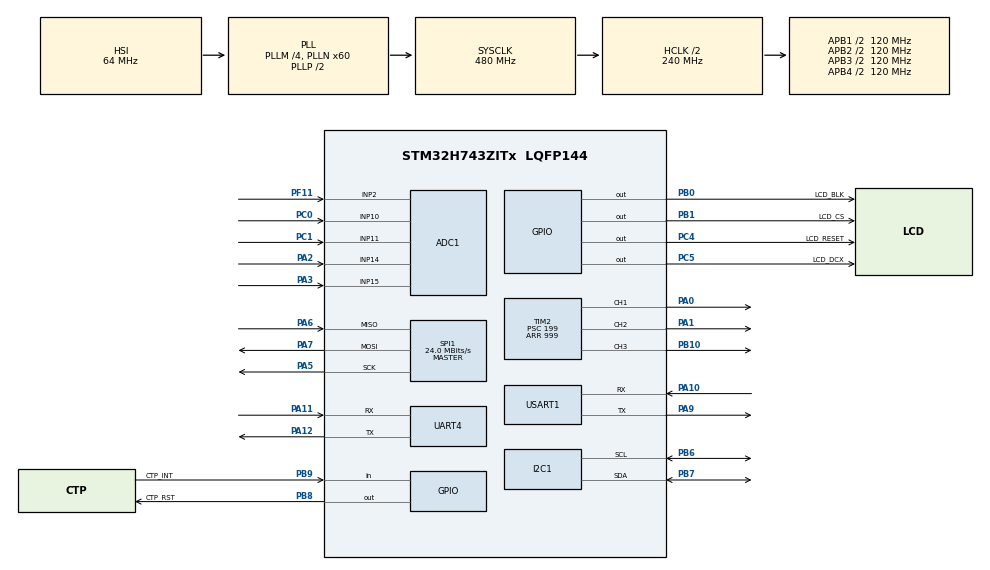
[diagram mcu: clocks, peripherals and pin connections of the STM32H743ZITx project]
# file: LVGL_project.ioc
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ADC1.Channel-0\#ChannelRegularConversion=ADC_CHANNEL_2
ADC1.ContinuousConvMode=DISABLE
ADC1.NbrOfConversion=1
ADC1.NbrOfConversionFlag=1
ADC1.OffsetNumber-0\#ChannelRegularConversion=ADC_OFFSET_NONE
ADC1.OffsetSignedSaturation-0\#ChannelRegularConversion=DISABLE
ADC1.OversamplingMode=ENABLE
ADC1.Rank-0\#ChannelRegularConversion=1
ADC1.SamplingTime-0\#ChannelRegularConversion=ADC_SAMPLETIME_1CYCLE_5
ADC1.master=1
CORTEX_M7.default_mode_Activation=1
Dma.Request0=SPI1_TX
Dma.Request1=SPI1_RX
Dma.Request2=USART1_RX
Dma.Request3=USART1_TX
Dma.SPI1_RX.1.Direction=DMA_PERIPH_TO_MEMORY
Dma.SPI1_RX.1.EventEnable=DISABLE
Dma.SPI1_RX.1.FIFOMode=DMA_FIFOMODE_DISABLE
Dma.SPI1_RX.1.Instance=DMA1_Stream1
Dma.SPI1_RX.1.MemDataAlignment=DMA_MDATAALIGN_BYTE
Dma.SPI1_RX.1.MemInc=DMA_MINC_ENABLE
Dma.SPI1_RX.1.Mode=DMA_NORMAL
Dma.SPI1_RX.1.PeriphDataAlignment=DMA_PDATAALIGN_BYTE
Dma.SPI1_RX.1.PeriphInc=DMA_PINC_DISABLE
Dma.SPI1_RX.1.Polarity=HAL_DMAMUX_REQ_GEN_RISING
Dma.SPI1_RX.1.Priority=DMA_PRIORITY_LOW
Dma.SPI1_RX.1.RequestNumber=1
Dma.SPI1_RX.1.SignalID=NONE
Dma.SPI1_RX.1.SyncEnable=DISABLE
Dma.SPI1_RX.1.SyncPolarity=HAL_DMAMUX_SYNC_NO_EVENT
Dma.SPI1_RX.1.SyncRequestNumber=1
Dma.SPI1_RX.1.SyncSignalID=NONE
Dma.SPI1_TX.0.Direction=DMA_MEMORY_TO_PERIPH
Dma.SPI1_TX.0.EventEnable=DISABLE
Dma.SPI1_TX.0.FIFOMode=DMA_FIFOMODE_DISABLE
Dma.SPI1_TX.0.Instance=DMA1_Stream0
Dma.SPI1_TX.0.MemDataAlignment=DMA_MDATAALIGN_HALFWORD
Dma.SPI1_TX.0.MemInc=DMA_MINC_ENABLE
Dma.SPI1_TX.0.Mode=DMA_NORMAL
Dma.SPI1_TX.0.PeriphDataAlignment=DMA_PDATAALIGN_HALFWORD
Dma.SPI1_TX.0.PeriphInc=DMA_PINC_DISABLE
Dma.SPI1_TX.0.Polarity=HAL_DMAMUX_REQ_GEN_RISING
Dma.SPI1_TX.0.Priority=DMA_PRIORITY_LOW
Dma.SPI1_TX.0.RequestNumber=1
Dma.SPI1_TX.0.SignalID=NONE
Dma.SPI1_TX.0.SyncEnable=DISABLE
Dma.SPI1_TX.0.SyncPolarity=HAL_DMAMUX_SYNC_NO_EVENT
Dma.SPI1_TX.0.SyncRequestNumber=1
Dma.SPI1_TX.0.SyncSignalID=NONE
Dma.USART1_RX.2.Direction=DMA_PERIPH_TO_MEMORY
Dma.USART1_RX.2.EventEnable=DISABLE
Dma.USART1_RX.2.FIFOMode=DMA_FIFOMODE_DISABLE
Dma.USART1_RX.2.Instance=DMA1_Stream2
Dma.USART1_RX.2.MemDataAlignment=DMA_MDATAALIGN_BYTE
Dma.USART1_RX.2.MemInc=DMA_MINC_ENABLE
Dma.USART1_RX.2.Mode=DMA_NORMAL
Dma.USART1_RX.2.PeriphDataAlignment=DMA_PDATAALIGN_BYTE
Dma.USART1_RX.2.PeriphInc=DMA_PINC_DISABLE
Dma.USART1_RX.2.Polarity=HAL_DMAMUX_REQ_GEN_RISING
Dma.USART1_RX.2.Priority=DMA_PRIORITY_LOW
Dma.USART1_RX.2.RequestNumber=1
Dma.USART1_RX.2.SignalID=NONE
Dma.USART1_RX.2.SyncEnable=DISABLE
Dma.USART1_RX.2.SyncPolarity=HAL_DMAMUX_SYNC_NO_EVENT
Dma.USART1_RX.2.SyncRequestNumber=1
Dma.USART1_RX.2.SyncSignalID=NONE
Dma.USART1_TX.3.Direction=DMA_MEMORY_TO_PERIPH
Dma.USART1_TX.3.EventEnable=DISABLE
Dma.USART1_TX.3.FIFOMode=DMA_FIFOMODE_DISABLE
Dma.USART1_TX.3.Instance=DMA1_Stream3
Dma.USART1_TX.3.MemDataAlignment=DMA_MDATAALIGN_BYTE
Dma.USART1_TX.3.MemInc=DMA_MINC_ENABLE
Dma.USART1_TX.3.Mode=DMA_NORMAL
Dma.USART1_TX.3.PeriphDataAlignment=DMA_PDATAALIGN_BYTE
Dma.USART1_TX.3.PeriphInc=DMA_PINC_DISABLE
Dma.USART1_TX.3.Polarity=HAL_DMAMUX_REQ_GEN_RISING
Dma.USART1_TX.3.Priority=DMA_PRIORITY_LOW
Dma.USART1_TX.3.RequestNumber=1
Dma.USART1_TX.3.SignalID=NONE
Dma.USART1_TX.3.SyncEnable=DISABLE
Dma.USART1_TX.3.SyncPolarity=HAL_DMAMUX_SYNC_NO_EVENT
Dma.USART1_TX.3.SyncRequestNumber=1
Dma.USART1_TX.3.SyncSignalID=NONE
FREERTOS.Tasks01=defaultTask,0,2048,StartDefaultTask,Default,NULL,Dynamic,NULL,NULL
FREERTOS.configMINIMAL_STACK_SIZE=2048
I2C1.Timing=0x307075B1
Mcu.Family=STM32H7
Mcu.Name=STM32H743ZITx
Mcu.Package=LQFP144
NVIC.DMA1_Stream0_IRQn=true\:5\:0\:false\:false\:true\:true\:false\:true\:true
NVIC.DMA1_Stream1_IRQn=true\:5\:0\:false\:false\:true\:true\:false\:true\:true
NVIC.DMA1_Stream2_IRQn=true\:5\:0\:false\:false\:true\:true\:false\:true\:true
NVIC.DMA1_Stream3_IRQn=true\:5\:0\:false\:false\:true\:true\:false\:true\:true
NVIC.PriorityGroup=NVIC_PRIORITYGROUP_4
NVIC.SPI1_IRQn=true\:5\:0\:false\:false\:true\:true\:false\:true\:true
NVIC.UART4_IRQn=true\:5\:0\:false\:false\:true\:true\:true\:true\:true
PA0.Signal=S_TIM2_CH1_ETR
PA1.Signal=S_TIM2_CH2
PA10.Mode=Asynchronous
PA10.Signal=USART1_RX
PA11.Mode=Asynchronous
PA11.Signal=UART4_RX
PA12.Mode=Asynchronous
PA12.Signal=UART4_TX
PA2.Signal=ADCx_INP14
PA3.Signal=ADCx_INP15
PA4.Signal=SPI1_NSS
PA5.GPIO_Speed=GPIO_SPEED_FREQ_VERY_HIGH
PA5.Mode=Full_Duplex_Master
PA5.Signal=SPI1_SCK
PA6.GPIO_Speed=GPIO_SPEED_FREQ_VERY_HIGH
PA6.Mode=Full_Duplex_Master
PA6.Signal=SPI1_MISO
PA7.GPIO_Speed=GPIO_SPEED_FREQ_VERY_HIGH
PA7.Mode=Full_Duplex_Master
PA7.Signal=SPI1_MOSI
PA9.Mode=Asynchronous
PA9.Signal=USART1_TX
PB0.GPIO_Label=LCD_BLK
PB0.GPIO_Speed=GPIO_SPEED_FREQ_VERY_HIGH
PB0.Signal=GPIO_Output
PB1.GPIO_Label=LCD_CS
PB1.GPIO_Speed=GPIO_SPEED_FREQ_VERY_HIGH
PB1.PinState=GPIO_PIN_SET
PB1.Signal=GPIO_Output
PB10.Signal=S_TIM2_CH3
PB6.Mode=I2C
PB6.Signal=I2C1_SCL
PB7.Mode=I2C
PB7.Signal=I2C1_SDA
PB8.GPIO_Label=CTP_RST
PB8.PinState=GPIO_PIN_SET
PB8.Signal=GPIO_Output
PB9.GPIO_Label=CTP_INT
PB9.GPIO_PuPd=GPIO_PULLUP
PB9.Signal=GPIO_Input
PC0.Signal=ADCx_INP10
PC1.Signal=ADCx_INP11
PC14-OSC32_IN\ (OSC32_IN).Mode=LSE-External-Oscillator
PC14-OSC32_IN\ (OSC32_IN).Signal=RCC_OSC32_IN
PC15-OSC32_OUT\ (OSC32_OUT).Mode=LSE-External-Oscillator
PC15-OSC32_OUT\ (OSC32_OUT).Signal=RCC_OSC32_OUT
PC4.GPIO_Label=LCD_RESET
PC4.GPIO_Speed=GPIO_SPEED_FREQ_VERY_HIGH
PC4.Signal=GPIO_Output
PC5.GPIO_Label=LCD_DCX
PC5.GPIO_Speed=GPIO_SPEED_FREQ_VERY_HIGH
PC5.Signal=GPIO_Output
PF11.Mode=IN2-Single-Ended
PF11.Signal=ADC1_INP2
PH0-OSC_IN\ (PH0).Mode=HSE-External-Oscillator
PH0-OSC_IN\ (PH0).Signal=RCC_OSC_IN
PH1-OSC_OUT\ (PH1).Mode=HSE-External-Oscillator
PH1-OSC_OUT\ (PH1).Signal=RCC_OSC_OUT
ProjectManager.HeapSize=0x1000
ProjectManager.StackSize=0x1000
ProjectManager.TargetToolchain=CMake
RCC.ADCFreq_Value=26666666.666666668
RCC.APB1Freq_Value=120000000
RCC.APB2Freq_Value=120000000
RCC.APB3Freq_Value=120000000
RCC.APB4Freq_Value=120000000
RCC.CortexFreq_Value=480000000
RCC.D1PPRE=RCC_APB3_DIV2
RCC.D2PPRE1=RCC_APB1_DIV2
RCC.D2PPRE2=RCC_APB2_DIV2
RCC.D3PPRE=RCC_APB4_DIV2
RCC.DIVM1=4
RCC.DIVM2=4
RCC.DIVN1=60
RCC.DIVN2=10
RCC.DIVP2=6
RCC.DIVQ1=5
RCC.HCLKFreq_Value=240000000
RCC.HPRE=RCC_HCLK_DIV2
RCC.PLL2FRACN=0
RCC.PLL3FRACN=0
RCC.PLLFRACN=0
RCC.SYSCLKFreq_VALUE=480000000
RCC.SYSCLKSource=RCC_SYSCLKSOURCE_PLLCLK
RCC.USBFreq_Value=192000000
SH.ADCx_INP10.0=ADC1_INP10,IN10-Single-Ended
SH.ADCx_INP11.0=ADC1_INP11,IN11-Single-Ended
SH.ADCx_INP14.0=ADC1_INP14,IN14-Single-Ended
SH.ADCx_INP15.0=ADC1_INP15,IN15-Single-Ended
SH.S_TIM2_CH1_ETR.0=TIM2_CH1,PWM Generation1 CH1
SH.S_TIM2_CH2.0=TIM2_CH2,PWM Generation2 CH2
SH.S_TIM2_CH3.0=TIM2_CH3,PWM Generation3 CH3
SPI1.BaudRatePrescaler=SPI_BAUDRATEPRESCALER_8
SPI1.CLKPhase=SPI_PHASE_1EDGE
SPI1.CLKPolarity=SPI_POLARITY_LOW
SPI1.CalculateBaudRate=24.0 MBits/s
SPI1.DataSize=SPI_DATASIZE_32BIT
SPI1.Direction=SPI_DIRECTION_2LINES
SPI1.Mode=SPI_MODE_MASTER
SPI1.VirtualType=VM_MASTER
TIM2.Channel-PWM\ Generation1\ CH1=TIM_CHANNEL_1
TIM2.Channel-PWM\ Generation2\ CH2=TIM_CHANNEL_2
TIM2.Channel-PWM\ Generation3\ CH3=TIM_CHANNEL_3
TIM2.Period=999
TIM2.Prescaler=199
TIM2.Pulse-PWM\ Generation1\ CH1=500
TIM2.Pulse-PWM\ Generation2\ CH2=500
TIM2.Pulse-PWM\ Generation3\ CH3=500
USART1.VirtualMode-Asynchronous=VM_ASYNC
VP_DMA2D_VS_DMA2D.Mode=DMA2D_Activate
VP_FREERTOS_VS_CMSIS_V1.Mode=CMSIS_V1
VP_MEMORYMAP_VS_MEMORYMAP.Mode=CurAppReg
VP_TIM2_VS_ClockSourceITR.Mode=TriggerSource_ITR0
board=custom

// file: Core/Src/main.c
/* USER CODE BEGIN Header */
/**
  ******************************************************************************
  * @file           : main.c
  * @brief          : Main program body
  ******************************************************************************
  * @attention
  *
  * Copyright (c) 2026 STMicroelectronics.
  * All rights reserved.
  *
  * This software is licensed under terms that can be found in the LICENSE file
  * in the root directory of this software component.
  * If no LICENSE file comes with this software, it is provided AS-IS.
  *
  ******************************************************************************
  */
/* USER CODE END Header */
#include "main.h"
#include "cmsis_os.h"
#include "adc.h"
#include "dma.h"
#include "dma2d.h"
#include "i2c.h"
#include "spi.h"
#include "tim.h"
#include "usart.h"
#include "gpio.h"

/* USER CODE BEGIN Includes */
#include "lvgl.h"
#include "ui.h"
#include "FreeRTOS.h"
/* USER CODE END Includes */

void SystemClock_Config(void);
static void MPU_Config(void);
void MX_FREERTOS_Init(void);

int main(void)
{

  /* MPU Configuration--------------------------------------------------------*/
  MPU_Config();

  /* MCU Configuration--------------------------------------------------------*/

  /* Reset of all peripherals, Initializes the Flash interface and the Systick. */
  HAL_Init();

  /* Configure the system clock */
  SystemClock_Config();

  /* Initialize all configured peripherals */
  MX_GPIO_Init();
  MX_DMA_Init();
  MX_DMA2D_Init();
  MX_SPI1_Init();
  MX_I2C1_Init();
  MX_ADC1_Init();
  MX_TIM2_Init();
  MX_UART4_Init();
  MX_USART1_UART_Init();

  /* Call init function for freertos objects (in cmsis_os2.c) */
  MX_FREERTOS_Init();

  /* Start scheduler */
  osKernelStart();

  /* We should never get here as control is now taken by the scheduler */

  /* Infinite loop */
  while (1)
  {

  }
}

void SystemClock_Config(void)
{
  RCC_OscInitTypeDef RCC_OscInitStruct = {0};
  RCC_ClkInitTypeDef RCC_ClkInitStruct = {0};

  /** Supply configuration update enable
  */
  HAL_PWREx_ConfigSupply(PWR_LDO_SUPPLY);

  /** Configure the main internal regulator output voltage
  */
  __HAL_PWR_VOLTAGESCALING_CONFIG(PWR_REGULATOR_VOLTAGE_SCALE0);

  while(!__HAL_PWR_GET_FLAG(PWR_FLAG_VOSRDY)) {}

  /** Initializes the RCC Oscillators according to the specified parameters
  * in the RCC_OscInitTypeDef structure.
  */
  RCC_OscInitStruct.OscillatorType = RCC_OSCILLATORTYPE_HSI;
  RCC_OscInitStruct.HSIState = RCC_HSI_DIV1;
  RCC_OscInitStruct.HSICalibrationValue = RCC_HSICALIBRATION_DEFAULT;
  RCC_OscInitStruct.PLL.PLLState = RCC_PLL_ON;
  RCC_OscInitStruct.PLL.PLLSource = RCC_PLLSOURCE_HSI;
  RCC_OscInitStruct.PLL.PLLM = 4;
  RCC_OscInitStruct.PLL.PLLN = 60;
  RCC_OscInitStruct.PLL.PLLP = 2;
  RCC_OscInitStruct.PLL.PLLQ = 5;
  RCC_OscInitStruct.PLL.PLLR = 2;
  RCC_OscInitStruct.PLL.PLLRGE = RCC_PLL1VCIRANGE_3;
  RCC_OscInitStruct.PLL.PLLVCOSEL = RCC_PLL1VCOWIDE;
  RCC_OscInitStruct.PLL.PLLFRACN = 0;
  if (HAL_RCC_OscConfig(&RCC_OscInitStruct) != HAL_OK)
  {
    Error_Handler();
  }

  /** Initializes the CPU, AHB and APB buses clocks
  */
  RCC_ClkInitStruct.ClockType = RCC_CLOCKTYPE_HCLK|RCC_CLOCKTYPE_SYSCLK
                              |RCC_CLOCKTYPE_PCLK1|RCC_CLOCKTYPE_PCLK2
                              |RCC_CLOCKTYPE_D3PCLK1|RCC_CLOCKTYPE_D1PCLK1;
  RCC_ClkInitStruct.SYSCLKSource = RCC_SYSCLKSOURCE_PLLCLK;
  RCC_ClkInitStruct.SYSCLKDivider = RCC_SYSCLK_DIV1;
  RCC_ClkInitStruct.AHBCLKDivider = RCC_HCLK_DIV2;
  RCC_ClkInitStruct.APB3CLKDivider = RCC_APB3_DIV2;
  RCC_ClkInitStruct.APB1CLKDivider = RCC_APB1_DIV2;
  RCC_ClkInitStruct.APB2CLKDivider = RCC_APB2_DIV2;
  RCC_ClkInitStruct.APB4CLKDivider = RCC_APB4_DIV2;

  if (HAL_RCC_ClockConfig(&RCC_ClkInitStruct, FLASH_LATENCY_4) != HAL_OK)
  {
    Error_Handler();
  }
}

 /* MPU Configuration */

void MPU_Config(void)
{
  MPU_Region_InitTypeDef MPU_InitStruct = {0};

  /* Disables the MPU */
  HAL_MPU_Disable();

  /** Initializes and configures the Region and the memory to be protected
  */
  MPU_InitStruct.Enable = MPU_REGION_ENABLE;
  MPU_InitStruct.Number = MPU_REGION_NUMBER0;
  MPU_InitStruct.BaseAddress = 0x0;
  MPU_InitStruct.Size = MPU_REGION_SIZE_4GB;
  MPU_InitStruct.SubRegionDisable = 0x87;
  MPU_InitStruct.TypeExtField = MPU_TEX_LEVEL0;
  MPU_InitStruct.AccessPermission = MPU_REGION_NO_ACCESS;
  MPU_InitStruct.DisableExec = MPU_INSTRUCTION_ACCESS_DISABLE;
  MPU_InitStruct.IsShareable = MPU_ACCESS_SHAREABLE;
  MPU_InitStruct.IsCacheable = MPU_ACCESS_NOT_CACHEABLE;
  MPU_InitStruct.IsBufferable = MPU_ACCESS_NOT_BUFFERABLE;

  HAL_MPU_ConfigRegion(&MPU_InitStruct);
  /* Enables the MPU */
  HAL_MPU_Enable(MPU_PRIVILEGED_DEFAULT);

}

void Error_Handler(void)
{
  __disable_irq();
  while (1)
  {
  }
}

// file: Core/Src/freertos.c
/* USER CODE BEGIN Header */
/**
  ******************************************************************************
  * File Name          : freertos.c
  * Description        : Code for freertos applications
  ******************************************************************************
  * @attention
  *
  * Copyright (c) 2026 STMicroelectronics.
  * All rights reserved.
  *
  * This software is licensed under terms that can be found in the LICENSE file
  * in the root directory of this software component.
  * If no LICENSE file comes with this software, it is provided AS-IS.
  *
  ******************************************************************************
  */
/* USER CODE END Header */

#include "FreeRTOS.h"
#include "task.h"
#include "main.h"
#include "cmsis_os.h"

/* USER CODE BEGIN Includes */
#include "lvgl.h"
#include "ui.h"
#include "lv_port_lcd_stm32.h"
#include "lv_port_indev.h"
#include "adc.h"              // ADC 外设头文件
#include "tim.h"              // TIM2 PWM 外设头文件
#include "usart.h"            // UART4 外设头文件
/* USER CODE END Includes */

/* USER CODE BEGIN Variables */

/* ★ FreeRTOS 堆内存 - 放在 RAM_D2 (288KB) 中
 * 使用 __attribute__((section())) 将数组放到 RAM_D2 区域
 * 这样 RAM (512KB) 可以全部给 LVGL 使用 */
__attribute__((section(".freertos_heap")))
uint8_t ucHeap[configTOTAL_HEAP_SIZE];

/* ★ 共享变量：ADC 任务写入，LVGL 定时器读取
 * 用 volatile 告诉编译器："这个变量随时可能被别的任务修改，
 * 每次用它都去内存里重新读，不要用缓存的旧值"
 *
 * 5 个通道对应 5 个 Rank：
 *   [0] = Channel 2  (PF11)    Rank 1
 *   [1] = Channel 10 (PC0)     Rank 2
 *   [2] = Channel 11 (PC1)     Rank 3
 *   [3] = Channel 14 (PA2)     Rank 4
 *   [4] = Channel 15 (PA3)     Rank 5 */
volatile uint32_t g_adc_raw[5] = {0};   // 5 个通道的原始 ADC 值
osThreadId adcTaskHandle;               // ADC 任务句柄
/* USER CODE END Variables */
osThreadId defaultTaskHandle;

/* USER CODE BEGIN FunctionPrototypes */
void StartAdcTask(void const * argument);   // ← 新增：ADC 任务函数声明
/* USER CODE END FunctionPrototypes */

void StartDefaultTask(void const * argument);

void MX_FREERTOS_Init(void); /* (MISRA C 2004 rule 8.1) */

/* GetIdleTaskMemory prototype (linked to static allocation support) */
void vApplicationGetIdleTaskMemory( StaticTask_t **ppxIdleTaskTCBBuffer, StackType_t **ppxIdleTaskStackBuffer, uint32_t *pulIdleTaskStackSize );

/* USER CODE BEGIN GET_IDLE_TASK_MEMORY */
static StaticTask_t xIdleTaskTCBBuffer;
static StackType_t xIdleStack[configMINIMAL_STACK_SIZE];

void vApplicationGetIdleTaskMemory( StaticTask_t **ppxIdleTaskTCBBuffer, StackType_t **ppxIdleTaskStackBuffer, uint32_t *pulIdleTaskStackSize )
{
  *ppxIdleTaskTCBBuffer = &xIdleTaskTCBBuffer;
  *ppxIdleTaskStackBuffer = &xIdleStack[0];
  *pulIdleTaskStackSize = configMINIMAL_STACK_SIZE;
  /* place for user code */
}
/* USER CODE END GET_IDLE_TASK_MEMORY */

void MX_FREERTOS_Init(void) {

  /* Create the thread(s) */
  /* definition and creation of defaultTask */
  osThreadDef(defaultTask, StartDefaultTask, osPriorityNormal, 0, 2048);
  defaultTaskHandle = osThreadCreate(osThread(defaultTask), NULL);

  /* USER CODE BEGIN RTOS_THREADS */
  /* ★ 创建 ADC 任务
   * 参数说明：
   *   adcTask         → 任务名字
   *   StartAdcTask    → 任务函数
   *   osPriorityBelowNormal → 优先级比 LVGL 低，不会抢 LVGL 的 CPU 时间
   *   0               → 不用实例参数
   *   1024            → 栈大小 1024 words = 4KB，够用了 */
  osThreadDef(adcTask, StartAdcTask, osPriorityBelowNormal, 0, 1024);
  adcTaskHandle = osThreadCreate(osThread(adcTask), NULL);
  /* USER CODE END RTOS_THREADS */

}

void StartDefaultTask(void const * argument)
{
  /* USER CODE BEGIN StartDefaultTask */

  /* 1. 初始化 LVGL 核心 */
  lv_init();

  /* 2. 心跳：告诉 LVGL 用 HAL 的毫秒计数来计时 */
  lv_tick_set_cb(HAL_GetTick);

  /* 3. 初始化屏幕驱动（ST7789 + SPI + DMA） */
  lv_port_display_init();

  /* 4. 初始化你的 UI */
  ui_init();

  /* 5. 初始化触摸输入设备（FT6206），让屏幕能响应手指 */
  lv_port_indev_init();

  /* 6. 启动 PWM 输出（PA0 = TIM2_CH1, PA1 = TIM2_CH2, PB10 = TIM2_CH3） */
  HAL_TIM_PWM_Start(&htim2, TIM_CHANNEL_1);
  HAL_TIM_PWM_Start(&htim2, TIM_CHANNEL_2);
  HAL_TIM_PWM_Start(&htim2, TIM_CHANNEL_3);

  /* 7. 主循环：反复推进 LVGL 状态机 */
  for(;;)
  {
    lv_timer_handler();   // LVGL 的"发动机"，每次调用处理刷新/动画/事件
    osDelay(5);           // 让出 CPU，5ms 调度一次
  }

  /* USER CODE END StartDefaultTask */
}

/* USER CODE BEGIN Application */

/**
 * ★ ADC 任务：每隔 200ms 读一次 ADC，把结果存到全局变量
 *
 * 整个流程只有 3 步：
 *   1. 启动 ADC（只做一次）
 *   2. 触发一次转换
 *   3. 等转换完成，读取结果
 *
 * 为什么不读完直接更新屏幕？
 *   因为 LVGL 控件不是线程安全的——两个任务不能同时操作 LVGL。
 *   所以 ADC 任务只负责"读"，把值存到全局变量；
 *   屏幕更新由 LVGL 任务自己的定时器负责"读取变量 + 显示"。
 */
void StartAdcTask(void const * argument)
{
    (void)argument;

    /* --- 初始化：只执行一次 --- */
    HAL_ADC_Start(&hadc1);    // 启动 ADC，让它准备好

    /* ★ 5 个通道的信息表（Channel 号 和 对应的 Rank）
     * 每次只转换 1 个通道，读完换下一个，5 个轮流来 */
    static const struct { uint32_t channel; uint32_t rank; } adc_ch[5] = {
        { ADC_CHANNEL_2,  ADC_REGULAR_RANK_1 },   // [0] PF11
        { ADC_CHANNEL_10, ADC_REGULAR_RANK_2 },   // [1] PC0
        { ADC_CHANNEL_11, ADC_REGULAR_RANK_3 },   // [2] PC1
        { ADC_CHANNEL_14, ADC_REGULAR_RANK_4 },   // [3] PA2
        { ADC_CHANNEL_15, ADC_REGULAR_RANK_5 },   // [4] PA3
    };

    /* --- 主循环：反复执行 --- */
    for(;;)
    {
        /* 轮流读取 5 个通道：每次只转换 1 个，读完换下一个 */
        for(int i = 0; i < 5; i++)
        {
            /* 第 1 步：配置当前要读的通道 */
            ADC_ChannelConfTypeDef sConfig = {0};
            sConfig.Channel      = adc_ch[i].channel;
            sConfig.Rank         = adc_ch[i].rank;
            sConfig.SamplingTime = ADC_SAMPLETIME_8CYCLES_5;
            sConfig.SingleDiff   = ADC_SINGLE_ENDED;
            HAL_ADC_ConfigChannel(&hadc1, &sConfig);

            /* 第 2 步：启动转换，等它完成 */
            HAL_ADC_Start(&hadc1);
            HAL_ADC_PollForConversion(&hadc1, 100);

            /* 第 3 步：读取结果 */
            g_adc_raw[i] = HAL_ADC_GetValue(&hadc1);

            /* 第 4 步：停止 ADC（为下一次切换通道做准备） */
            HAL_ADC_Stop(&hadc1);
        }

        /* 没接传感器的通道，会读到随机值（浮空引脚噪声），这是正常的 */

        osDelay(200);   // 每 200ms 读一轮，让出 CPU 给其他任务
    }
}

/* USER CODE END Application */
